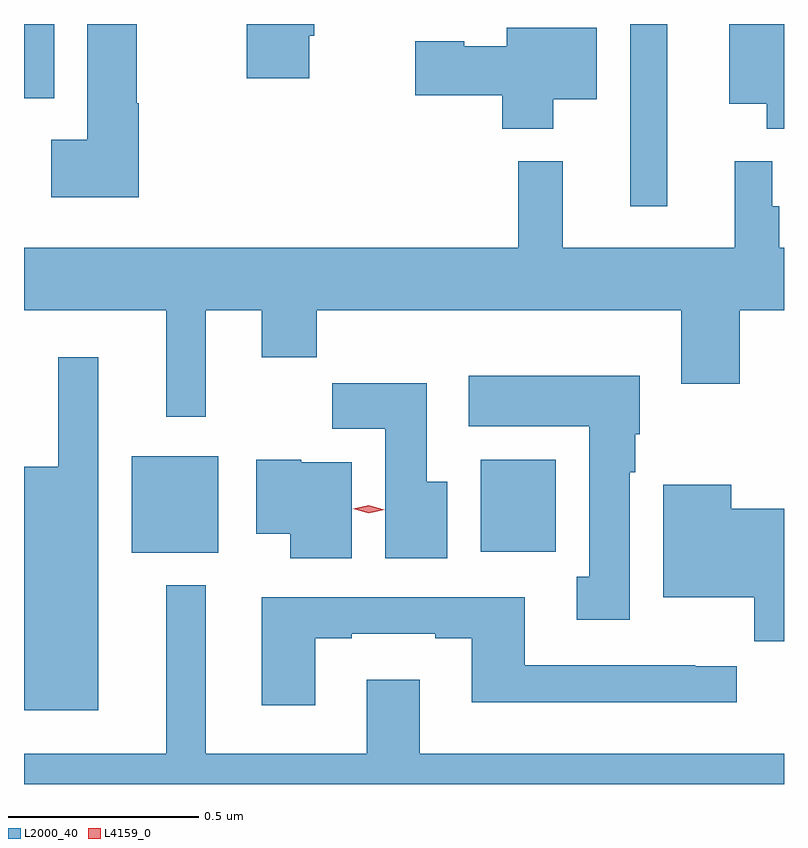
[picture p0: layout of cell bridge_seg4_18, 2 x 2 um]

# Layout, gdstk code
import gdstk
lib = gdstk.Library(unit=1e-6, precision=1e-09)
def R(c, l, rs):  # rectangles x0, y0, x1, y1
    for r in rs: c.add(gdstk.rectangle(r[:2], r[2:], *l))
def P(c, l, *ps):  # polygons
    for p in ps: c.add(gdstk.Polygon(p, *l))
L2000_40 = (2000, 40)
L4159_0 = (4159, 0)

bridge_seg4_18 = lib.new_cell('bridge_seg4_18')
R(bridge_seg4_18, L2000_40, [(1018.181,821.489,1018.408,821.743), (1019.099,821.492,1019.296,821.734), (1019.493,822.402,1019.59,822.881), (1017.897,822.686,1017.976,822.881)])
P(bridge_seg4_18, L2000_40, [(1018.648,822.85),(1018.661,822.85),(1018.661,822.881),(1018.483,822.881),(1018.483,822.738),(1018.648,822.738)],
  [(1019.897,822.881),(1019.753,822.881),(1019.753,822.671),(1019.852,822.671),(1019.852,822.605),(1019.897,822.605)],
  [(1018.199,822.673),(1018.194,822.673),(1018.194,822.881),(1018.064,822.881),(1018.064,822.577),(1017.969,822.577),(1017.969,822.425),(1018.199,822.425)],
  [(1019.29,822.683),(1019.404,822.683),(1019.404,822.871),(1019.168,822.871),(1019.168,822.823),(1019.055,822.823),(1019.055,822.836),(1018.926,822.836),(1018.926,822.694),(1019.156,822.694),(1019.156,822.605),(1019.29,822.605)],
  [(1018.375,822.128),(1018.523,822.128),(1018.523,822.004),(1018.667,822.004),(1018.667,822.128),(1019.627,822.128),(1019.627,821.934),(1019.78,821.934),(1019.78,822.128),(1019.897,822.128),(1019.897,822.292),(1019.885,822.292),(1019.885,822.401),(1019.866,822.401),(1019.866,822.52),(1019.768,822.52),(1019.768,822.292),(1019.315,822.292),(1019.315,822.52),(1019.197,822.52),(1019.197,822.292),(1017.897,822.292),(1017.897,822.128),(1018.271,822.128),(1018.271,821.847),(1018.375,821.847)],
  [(1018.093,822.004),(1017.987,822.004),(1017.987,821.716),(1017.897,821.716),(1017.897,821.075),(1018.093,821.075)],
  [(1019.491,821.702),(1019.506,821.702),(1019.506,821.802),(1019.518,821.802),(1019.518,821.956),(1019.067,821.956),(1019.067,821.822),(1019.384,821.822),(1019.384,821.426),(1019.351,821.426),(1019.351,821.313),(1019.491,821.313)],
  [(1019.011,821.676),(1018.957,821.676),(1018.957,821.935),(1018.708,821.935),(1018.708,821.816),(1018.847,821.816),(1018.847,821.475),(1019.011,821.475)],
  [(1018.759,821.728),(1018.626,821.728),(1018.626,821.734),(1018.508,821.734),(1018.508,821.54),(1018.598,821.54),(1018.598,821.475),(1018.759,821.475)],
  [(1019.897,821.605),(1019.758,821.605),(1019.758,821.668),(1019.579,821.668),(1019.579,821.372),(1019.819,821.372),(1019.819,821.257),(1019.897,821.257)],
  [(1019.897,820.96),(1018.939,820.96),(1018.939,821.155),(1018.799,821.155),(1018.799,820.96),(1018.375,820.96),(1018.375,821.404),(1018.271,821.404),(1018.271,820.96),(1017.897,820.96),(1017.897,820.881),(1019.897,820.881)],
  [(1018.663,821.265),(1018.759,821.265),(1018.759,821.277),(1018.979,821.277),(1018.979,821.265),(1019.075,821.265),(1019.075,821.096),(1019.772,821.096),(1019.772,821.191),(1019.663,821.191),(1019.663,821.193),(1019.215,821.193),(1019.215,821.373),(1018.523,821.373),(1018.523,821.088),(1018.663,821.088)])
P(bridge_seg4_18, L4159_0, [(1018.804,821.594),(1018.763,821.605),(1018.763,821.605),(1018.763,821.606),(1018.804,821.614),(1018.845,821.603),(1018.845,821.603),(1018.845,821.603)])

lib.write_gds('bridge_seg4_18.gds')
